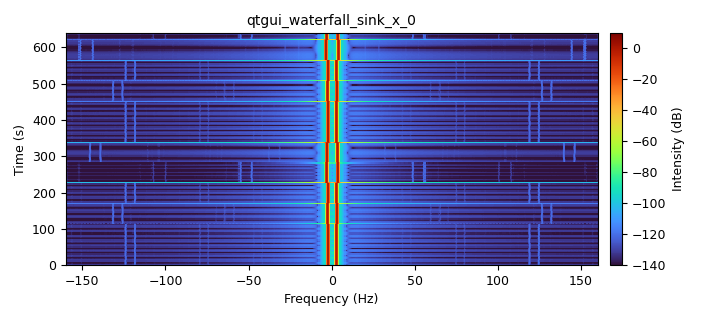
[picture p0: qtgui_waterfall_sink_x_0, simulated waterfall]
<?xml version='1.0' encoding='utf-8'?>
<?grc format='1' created='3.7.11'?>
<flow_graph>
<block>
<key>options</key>
<param><key>id</key><value>top_block</value></param>
<param><key>generate_options</key><value>qt_gui</value></param>
</block>
<block>
<key>variable</key>
<param><key>id</key><value>samp_rate</value></param>
<param><key>value</key><value>32000</value></param>
</block>
<block>
<key>audio_sink</key>
<param><key>id</key><value>audio_sink_0</value></param>
<param><key>samp_rate</key><value>samp_rate</value></param>
</block>
<block>
<key>blocks_repeat</key>
<param><key>id</key><value>blocks_repeat_0</value></param>
<param><key>interp</key><value>18000</value></param>
<param><key>type</key><value>float</value></param>
</block>
<block>
<key>blocks_throttle</key>
<param><key>id</key><value>blocks_throttle_0</value></param>
<param><key>samples_per_second</key><value>samp_rate</value></param>
<param><key>type</key><value>float</value></param>
</block>
<block>
<key>blocks_vco_f</key>
<param><key>id</key><value>blocks_vco_f_0</value></param>
<param><key>amplitude</key><value>5</value></param>
<param><key>samp_rate</key><value>32000</value></param>
<param><key>sensitivity</key><value>6.28</value></param>
</block>
<block>
<key>blocks_vector_source_x</key>
<param><key>id</key><value>blocks_vector_source_x_0</value></param>
<param><key>type</key><value>float</value></param>
<param><key>repeat</key><value>True</value></param>
<param><key>vector</key><value>(262,262,294,262,349,330,262,262,294,262,392,349,262,262,277,440,392,349,330,466,466,440,349,392,349)</value></param>
</block>
<block>
<key>qtgui_waterfall_sink_x</key>
<param><key>id</key><value>qtgui_waterfall_sink_x_0</value></param>
<param><key>bw</key><value>samp_rate/100</value></param>
<param><key>fc</key><value>0</value></param>
<param><key>fftsize</key><value>1024</value></param>
<param><key>showports</key><value>True</value></param>
<param><key>type</key><value>float</value></param>
<param><key>update_time</key><value>0.000010</value></param>
<param><key>wintype</key><value>firdes.WIN_BLACKMAN_hARRIS</value></param>
</block>
<connection><source_block_id>blocks_repeat_0</source_block_id><sink_block_id>blocks_vco_f_0</sink_block_id><source_key>0</source_key><sink_key>0</sink_key></connection>
<connection><source_block_id>blocks_throttle_0</source_block_id><sink_block_id>qtgui_waterfall_sink_x_0</sink_block_id><source_key>0</source_key><sink_key>0</sink_key></connection>
<connection><source_block_id>blocks_vco_f_0</source_block_id><sink_block_id>audio_sink_0</sink_block_id><source_key>0</source_key><sink_key>0</sink_key></connection>
<connection><source_block_id>blocks_vco_f_0</source_block_id><sink_block_id>blocks_throttle_0</sink_block_id><source_key>0</source_key><sink_key>0</sink_key></connection>
<connection><source_block_id>blocks_vector_source_x_0</source_block_id><sink_block_id>blocks_repeat_0</sink_block_id><source_key>0</source_key><sink_key>0</sink_key></connection>
</flow_graph>
